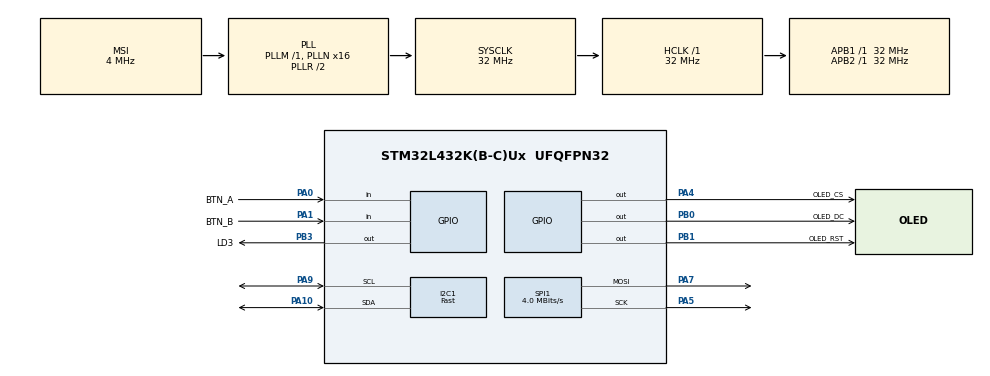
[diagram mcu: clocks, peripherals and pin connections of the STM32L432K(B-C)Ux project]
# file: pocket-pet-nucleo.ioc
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FREERTOS.Tasks01=defaultTask,24,128,StartDefaultTask,Default,NULL,Dynamic,NULL,NULL
FREERTOS.configTOTAL_HEAP_SIZE=8192
FREERTOS.configUSE_NEWLIB_REENTRANT=1
I2C1.I2C_Speed_Mode=I2C_Fast
I2C1.Timing=0x0060112F
Mcu.Family=STM32L4
Mcu.Name=STM32L432K(B-C)Ux
Mcu.Package=UFQFPN32
NVIC.PriorityGroup=NVIC_PRIORITYGROUP_4
NVIC.TIM6_DAC_IRQn=true\:15\:0\:false\:false\:true\:false\:false\:true\:true
NVIC.TimeBase=TIM6_DAC_IRQn
NVIC.TimeBaseIP=TIM6
PA0.GPIO_Label=BTN_A
PA0.GPIO_PuPd=GPIO_PULLUP
PA0.Signal=GPIO_Input
PA1.GPIO_Label=BTN_B
PA1.GPIO_PuPd=GPIO_PULLUP
PA1.Signal=GPIO_Input
PA10.Mode=I2C
PA10.Signal=I2C1_SDA
PA13\ (JTMS-SWDIO).GPIO_Label=SWDIO
PA13\ (JTMS-SWDIO).Signal=SYS_JTMS-SWDIO
PA14\ (JTCK-SWCLK).GPIO_Label=SWCLK
PA14\ (JTCK-SWCLK).Signal=SYS_JTCK-SWCLK
PA15\ (JTDI).GPIO_Label=VCP_RX
PA15\ (JTDI).Signal=USART2_RX
PA2.GPIO_Label=VCP_TX
PA2.Signal=USART2_TX
PA4.GPIO_Label=OLED_CS
PA4.PinState=GPIO_PIN_SET
PA4.Signal=GPIO_Output
PA5.Mode=TX_Only_Simplex_Unidirect_Master
PA5.Signal=SPI1_SCK
PA7.Mode=TX_Only_Simplex_Unidirect_Master
PA7.Signal=SPI1_MOSI
PA9.Mode=I2C
PA9.Signal=I2C1_SCL
PB0.GPIO_Label=OLED_DC
PB0.GPIO_ModeDefaultOutputPP=GPIO_MODE_OUTPUT_PP
PB0.GPIO_PuPd=GPIO_NOPULL
PB0.GPIO_Speed=GPIO_SPEED_FREQ_LOW
PB0.Signal=GPIO_Output
PB1.GPIO_Label=OLED_RST
PB1.GPIO_ModeDefaultOutputPP=GPIO_MODE_OUTPUT_PP
PB1.GPIO_PuPd=GPIO_NOPULL
PB1.GPIO_Speed=GPIO_SPEED_FREQ_LOW
PB1.Signal=GPIO_Output
PB3\ (JTDO-TRACESWO).GPIO_Label=LD3
PB3\ (JTDO-TRACESWO).GPIO_ModeDefaultOutputPP=GPIO_MODE_OUTPUT_PP
PB3\ (JTDO-TRACESWO).GPIO_PuPd=GPIO_NOPULL
PB3\ (JTDO-TRACESWO).GPIO_Speed=GPIO_SPEED_FREQ_LOW
PB3\ (JTDO-TRACESWO).Signal=GPIO_Output
PC14-OSC32_IN\ (PC14).Signal=RCC_OSC32_IN
PC15-OSC32_OUT\ (PC15).Signal=RCC_OSC32_OUT
ProjectManager.HeapSize=0x200
ProjectManager.StackSize=0x400
ProjectManager.TargetToolchain=STM32CubeIDE
RCC.AHBFreq_Value=32000000
RCC.APB1Freq_Value=32000000
RCC.APB1TimFreq_Value=32000000
RCC.APB2Freq_Value=32000000
RCC.APB2TimFreq_Value=32000000
RCC.CortexFreq_Value=32000000
RCC.HCLKFreq_Value=32000000
RCC.HSE_VALUE=8000000
RCC.HSI16_VALUE=16000000
RCC.HSI48_VALUE=48000000
RCC.HSI_VALUE=16000000
RCC.LSE_VALUE=32768
RCC.MSI_VALUE=4000000
RCC.PLLMUL=RCC_PLLMUL_4
RCC.PLLN=16
RCC.SYSCLKFreq_VALUE=32000000
RCC.SYSCLKSource=RCC_SYSCLKSOURCE_PLLCLK
RCC.VCOOutputFreq_Value=64000000
SPI1.BaudRatePrescaler=SPI_BAUDRATEPRESCALER_8
SPI1.CalculateBaudRate=4.0 MBits/s
SPI1.DataSize=SPI_DATASIZE_8BIT
SPI1.Direction=SPI_DIRECTION_2LINES
SPI1.Mode=SPI_MODE_MASTER
SPI1.NSSPMode=SPI_NSS_PULSE_ENABLE
SPI1.VirtualType=VM_MASTER
VP_FREERTOS_VS_CMSIS_V2.Mode=CMSIS_V2
VP_NUCLEO-L432KC_VS_BSP_COMMON.Mode=COMMON
VP_SYS_VS_tim6.Mode=TIM6
board=NUCLEO-L432KC

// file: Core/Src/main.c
/* USER CODE BEGIN Header */
/**
  ******************************************************************************
  * @file           : main.c
  * @brief          : Main program body
  ******************************************************************************
  * @attention
  *
  * Copyright (c) 2026 STMicroelectronics.
  * All rights reserved.
  *
  * This software is licensed under terms that can be found in the LICENSE file
  * in the root directory of this software component.
  * If no LICENSE file comes with this software, it is provided AS-IS.
  *
  ******************************************************************************
  */
/* USER CODE END Header */
#include "main.h"
#include "cmsis_os.h"
#include "i2c.h"
#include "spi.h"
#include "gpio.h"

/* USER CODE BEGIN Includes */
#include "ssd1306.h"
/* USER CODE END Includes */

void SystemClock_Config(void);
void MX_FREERTOS_Init(void);

int main(void)
{

  /* MCU Configuration--------------------------------------------------------*/

  /* Reset of all peripherals, Initializes the Flash interface and the Systick. */
  HAL_Init();

  /* Configure the system clock */
  SystemClock_Config();

  /* Initialize all configured peripherals */
  MX_GPIO_Init();
  MX_SPI1_Init();
  MX_I2C1_Init();

  /* Init scheduler */
  osKernelInitialize();  /* Call init function for freertos objects (in cmsis_os2.c) */
  MX_FREERTOS_Init();

  /* Start scheduler */
  osKernelStart();

  /* We should never get here as control is now taken by the scheduler */

  /* Infinite loop */
  while (1)
  {

	  }
}

void SystemClock_Config(void)
{
  RCC_OscInitTypeDef RCC_OscInitStruct = {0};
  RCC_ClkInitTypeDef RCC_ClkInitStruct = {0};

  /** Configure the main internal regulator output voltage
  */
  if (HAL_PWREx_ControlVoltageScaling(PWR_REGULATOR_VOLTAGE_SCALE1) != HAL_OK)
  {
    Error_Handler();
  }

  /** Initializes the RCC Oscillators according to the specified parameters
  * in the RCC_OscInitTypeDef structure.
  */
  RCC_OscInitStruct.OscillatorType = RCC_OSCILLATORTYPE_MSI;
  RCC_OscInitStruct.MSIState = RCC_MSI_ON;
  RCC_OscInitStruct.MSICalibrationValue = 0;
  RCC_OscInitStruct.MSIClockRange = RCC_MSIRANGE_6;
  RCC_OscInitStruct.PLL.PLLState = RCC_PLL_ON;
  RCC_OscInitStruct.PLL.PLLSource = RCC_PLLSOURCE_MSI;
  RCC_OscInitStruct.PLL.PLLM = 1;
  RCC_OscInitStruct.PLL.PLLN = 16;
  RCC_OscInitStruct.PLL.PLLP = RCC_PLLP_DIV7;
  RCC_OscInitStruct.PLL.PLLQ = RCC_PLLQ_DIV2;
  RCC_OscInitStruct.PLL.PLLR = RCC_PLLR_DIV2;
  if (HAL_RCC_OscConfig(&RCC_OscInitStruct) != HAL_OK)
  {
    Error_Handler();
  }

  /** Initializes the CPU, AHB and APB buses clocks
  */
  RCC_ClkInitStruct.ClockType = RCC_CLOCKTYPE_HCLK|RCC_CLOCKTYPE_SYSCLK
                              |RCC_CLOCKTYPE_PCLK1|RCC_CLOCKTYPE_PCLK2;
  RCC_ClkInitStruct.SYSCLKSource = RCC_SYSCLKSOURCE_PLLCLK;
  RCC_ClkInitStruct.AHBCLKDivider = RCC_SYSCLK_DIV1;
  RCC_ClkInitStruct.APB1CLKDivider = RCC_HCLK_DIV1;
  RCC_ClkInitStruct.APB2CLKDivider = RCC_HCLK_DIV1;

  if (HAL_RCC_ClockConfig(&RCC_ClkInitStruct, FLASH_LATENCY_1) != HAL_OK)
  {
    Error_Handler();
  }
}

void HAL_TIM_PeriodElapsedCallback(TIM_HandleTypeDef *htim)
{
  if (htim->Instance == TIM6)
  {
    HAL_IncTick();
  }
}

void Error_Handler(void)
{
  __disable_irq();
  while (1)
  {
  }
}

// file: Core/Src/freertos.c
/* USER CODE BEGIN Header */
/**
  ******************************************************************************
  * File Name          : freertos.c
  * Description        : Code for freertos applications
  ******************************************************************************
  * @attention
  *
  * Copyright (c) 2026 STMicroelectronics.
  * All rights reserved.
  *
  * This software is licensed under terms that can be found in the LICENSE file
  * in the root directory of this software component.
  * If no LICENSE file comes with this software, it is provided AS-IS.
  *
  ******************************************************************************
  */
/* USER CODE END Header */

#include "FreeRTOS.h"
#include "task.h"
#include "main.h"
#include "cmsis_os.h"

/* USER CODE BEGIN Includes */
#include "ssd1306.h"
#include "pet.h"
#include <stdio.h>
#include "i2c.h"
#include "lis3dh.h"
#include "pocket_pet_pins.h"
#include "pet_sprites.h"

/* USER CODE END Includes */

/* USER CODE BEGIN Variables */
osMessageQueueId_t petStateQueueHandle;

const osThreadAttr_t petTask_attributes = {
  .name = "petTask",
  .stack_size = 128 * 4,
  .priority = (osPriority_t) osPriorityNormal,
};
osThreadId_t petTaskHandle;

osMessageQueueId_t petEventQueueHandle;

const osThreadAttr_t inputTask_attributes = {
  .name = "inputTask",
  .stack_size = 128 * 4,
  .priority = (osPriority_t) osPriorityNormal,
};
osThreadId_t inputTaskHandle;

/* USER CODE END Variables */
/* Definitions for defaultTask */
osThreadId_t defaultTaskHandle;
const osThreadAttr_t defaultTask_attributes = {
  .name = "defaultTask",
  .stack_size = 128 * 4,
  .priority = (osPriority_t) osPriorityNormal,
};

/* USER CODE BEGIN FunctionPrototypes */
void StartPetTask(void *argument);
void StartInputTask(void *argument);
/* USER CODE END FunctionPrototypes */

void StartDefaultTask(void *argument);

void MX_FREERTOS_Init(void); /* (MISRA C 2004 rule 8.1) */

void MX_FREERTOS_Init(void) {

  /* USER CODE BEGIN RTOS_QUEUES */
	  /* Depth 1: the display only ever cares about the newest state. A deeper
	   * queue would just mean rendering stale frames if the display fell behind. */
	  petStateQueueHandle = osMessageQueueNew(1, sizeof(pet_state_t), NULL);

	  /* Depth 4: button presses must not be dropped the way stale display frames
	   * can be. A few can buffer if the pet task is mid-tick. */
	  petEventQueueHandle = osMessageQueueNew(4, sizeof(pet_event_t), NULL);
  /* USER CODE END RTOS_QUEUES */

  /* Create the thread(s) */
  /* creation of defaultTask */
  defaultTaskHandle = osThreadNew(StartDefaultTask, NULL, &defaultTask_attributes);

  /* USER CODE BEGIN RTOS_THREADS */
  petTaskHandle = osThreadNew(StartPetTask, NULL, &petTask_attributes);
  inputTaskHandle = osThreadNew(StartInputTask, NULL, &inputTask_attributes);
  /* USER CODE END RTOS_THREADS */

}

void StartDefaultTask(void *argument)
{
  /* USER CODE BEGIN StartDefaultTask */
  pet_state_t pet;
  char line[24];
  uint8_t anim_frame = 0;

  pet_init(&pet);
  ssd1306_init();

  if (!lis3dh_init()) {
    ssd1306_clear();
    ssd1306_draw_string(0, 0, "LIS3DH FAIL", SSD1306_PIXEL_ON);
    ssd1306_update_screen();
    osDelay(2000);
  }

  /* Splash: title, credit, and the bunny hopping in from the left.
   *
   * The vertical offset is a repeating 4-step pattern rather than a real
   * arc — at 32px tall on a 1-bit display the difference is invisible, and
   * a lookup table costs nothing. Runs at the same 8 fps as the main loop
   * so the motion matches the rest of the UI. */
  {
    static const int8_t hop[4] = { 0, -3, -5, -3 };

    for (uint8_t i = 0; i < 28; i++) {
      ssd1306_clear();

      ssd1306_draw_string(28, 6,  "POCKET PET", SSD1306_PIXEL_ON);
      ssd1306_draw_string(16, 18, "by @wiredbysarah", SSD1306_PIXEL_ON);

      /* Hops in from off-screen left, stops at x=48 and settles. */
      int16_t bx = (int16_t)(i * 5) - 32;
      if (bx > 48) {
        bx = 48;
      }

      /* Stop bouncing once it has arrived. */
      int16_t by = 30 + ((bx < 48) ? hop[i % 4] : 0);

      /* Runs while moving, idles once it arrives — a run cycle playing on
       * the spot reads as a glitch rather than a pause. */
      const pet_anim_t *splash_anim = (bx < 48) ? &anim_run : &anim_idle;

      ssd1306_draw_bitmap((uint8_t)bx, (uint8_t)by,
                          splash_anim->frames[i % splash_anim->count],
                          PET_SPRITE_W, PET_SPRITE_H, SSD1306_PIXEL_ON);

      ssd1306_update_screen();
      osDelay(125);
    }

    osDelay(600);
  }

  /* Redraw on a fixed 125 ms cadence rather than waiting on the queue, so
   * animation runs at 8 fps regardless of how often the pet state changes. */
  for(;;)
  {
    /* Timeout 0: take a new state if there is one, carry on if not. */
    osMessageQueueGet(petStateQueueHandle, &pet, NULL, 0);

    pet_mood_t mood = pet_get_mood(&pet);

    ssd1306_clear();

    /* --- Stat bars: labelled, down the left ------------------------------ */
    ssd1306_draw_string(0, 2, "HUNGER", SSD1306_PIXEL_ON);
    ssd1306_draw_rect(38, 1, 30, 7, SSD1306_PIXEL_ON);
    ssd1306_fill_rect(39, 2, (uint8_t)(pet.hunger * 28 / 100), 5, SSD1306_PIXEL_ON);

    ssd1306_draw_string(0, 13, "MOOD", SSD1306_PIXEL_ON);
    ssd1306_draw_rect(38, 12, 30, 7, SSD1306_PIXEL_ON);
    ssd1306_fill_rect(39, 13, (uint8_t)(pet.mood * 28 / 100), 5, SSD1306_PIXEL_ON);

    ssd1306_draw_string(0, 24, "ENERGY", SSD1306_PIXEL_ON);
    ssd1306_draw_rect(38, 23, 30, 7, SSD1306_PIXEL_ON);
    ssd1306_fill_rect(39, 24, (uint8_t)(pet.energy * 28 / 100), 5, SSD1306_PIXEL_ON);

    /* --- The pet, right-hand side ----------------------------------------
     * Adults render at 2x, so growing up is visible rather than just a label
     * change. Both sizes sit their feet on the same baseline, so the
     * creature grows upward in place.
     *
     * The y calculation is done signed and clamped: at 2x the sprite is 64px
     * tall and would underflow a uint8_t subtraction, wrapping to a large
     * value and clipping the top of the sprite. */
    /* A recent event overrides the mood animation, so a button press is
     * visibly acknowledged and the reaction animations get used. Death and
     * distress still win: those are things the player needs to see. */
    const pet_anim_t *anim;

    if (mood == PET_MOOD_DEAD) {
      anim = &anim_dead;
    } else if (mood == PET_MOOD_DISTRESSED) {
      anim = &anim_hurt;
    } else if (pet.reaction_ticks > 0) {
      switch (pet.last_event) {
        case PET_EVENT_FEED:  anim = &anim_attack; break;
        case PET_EVENT_PLAY:  anim = &anim_run;    break;
        case PET_EVENT_SHAKE: anim = &anim_run;    break;
        default:              anim = &anim_idle;   break;
      }
    } else {
      switch (mood) {
        case PET_MOOD_HAPPY:    anim = &anim_idle;    break;
        case PET_MOOD_NEUTRAL:  anim = &anim_sitting; break;
        case PET_MOOD_SAD:      anim = &anim_liedown; break;
        case PET_MOOD_SLEEPING: anim = &anim_sleep;   break;
        default:                anim = &anim_idle;    break;
      }
    }

    uint8_t scale = (pet.stage == PET_STAGE_ADULT) ? 2 : 1;
    int16_t sprite_h = (int16_t)(PET_SPRITE_H * scale);
    int16_t sy = 54 - sprite_h;
    if (sy < 0) {
      sy = 0;
    }

    /* Both sizes share a horizontal centre at x=95, so the creature grows in
     * place rather than shifting sideways when it reaches adulthood. */
    uint8_t sprite_w = (uint8_t)(PET_SPRITE_W * scale);
    uint8_t sx = (uint8_t)(105 - sprite_w / 2);

    ssd1306_draw_bitmap_scaled(sx, (uint8_t)sy,
                               anim->frames[anim_frame % anim->count],
                               PET_SPRITE_W, PET_SPRITE_H, scale,
                               SSD1306_PIXEL_ON);

    /* --- Status line, bottom --------------------------------------------- */
    if (mood == PET_MOOD_DEAD) {
      ssd1306_draw_string(4, 56, "RIP", SSD1306_PIXEL_ON);
    } else if (mood == PET_MOOD_DISTRESSED) {
      snprintf(line, sizeof(line), "HELP %u  %lus",
               (unsigned)(DISTRESS_TICKS - pet.distress_ticks),
               pet.age_s);
      ssd1306_draw_string(0, 56, line, SSD1306_PIXEL_ON);

    } else if (mood == PET_MOOD_SLEEPING) {
      ssd1306_draw_string(4, 56, "ZZZ", SSD1306_PIXEL_ON);
    } else {
      snprintf(line, sizeof(line), "%s %lus",
               (pet.stage == PET_STAGE_ADULT) ? "ADULT" : "BABY",
               pet.age_s);
      ssd1306_draw_string(0, 56, line, SSD1306_PIXEL_ON);
    }

    anim_frame++;
    ssd1306_update_screen();

#ifdef BOARD_NUCLEO
    HAL_GPIO_TogglePin(LD3_GPIO_Port, LD3_Pin);
#endif

    osDelay(125);
  }
  /* USER CODE END StartDefaultTask */
}

/* USER CODE BEGIN Application */
void vApplicationStackOverflowHook(TaskHandle_t xTask, char *pcTaskName)
{
    (void)xTask;
    (void)pcTaskName;
    __disable_irq();
    for(;;);
}
/*
 * Owns the pet state. Nothing else writes to it.
 *
 * Publishes a copy to the queue after each tick; the display task renders
 * whatever it receives. Neither task touches the other's memory, which is
 * what makes this safe without a mutex.
 */
void StartPetTask(void *argument)
{
  pet_state_t pet;
  pet_init(&pet);

  for(;;)
  {
    pet_event_t ev;

    /* Drain any events that arrived since the last tick. Timeout 0 means
     * this returns immediately when the queue is empty. */
    while (osMessageQueueGet(petEventQueueHandle, &ev, NULL, 0) == osOK) {
      pet_apply_event(&pet, ev);
    }

    pet_tick(&pet);

    /* Overwrite semantics: if the display has not consumed the previous
     * state yet, replace it. Timeout 0 so this task never blocks on a
     * slow renderer. */
    osMessageQueuePut(petStateQueueHandle, &pet, 0, 0);

    osDelay(1000);
  }
}

/*
 * Polls the two buttons and publishes press events.
 *
 * Pins are pull-up, so a press reads LOW. Debouncing is done by sampling
 * every 20 ms and only acting on a transition from released to pressed:
 * mechanical contacts (and a hand-held wire even more so) bounce for a few
 * milliseconds, and without this one press registers as a dozen.
 *
 * Edge detection, not level: holding the wire down feeds once, not
 * continuously. Feeding on level would let you max out the pet by leaving
 * a wire touching.
 */
void StartInputTask(void *argument)
{
	  uint8_t btn_a_prev = 1;
	  uint8_t btn_b_prev = 1;
	  uint16_t btn_b_held = 0;
	  uint8_t  btn_b_longpress_fired = 0;
	  uint8_t accel_divider = 0;

	  /* 50 samples at 20 ms = 1 second. */
	  #define LONGPRESS_SAMPLES 50

	  for(;;)
	  {
	    uint8_t btn_a = (HAL_GPIO_ReadPin(BTN_A_GPIO_Port, BTN_A_Pin) == GPIO_PIN_SET) ? 1 : 0;
	    uint8_t btn_b = (HAL_GPIO_ReadPin(BTN_B_GPIO_Port, BTN_B_Pin) == GPIO_PIN_SET) ? 1 : 0;

	    if (btn_a == 0 && btn_a_prev == 1) {
	      pet_event_t ev = PET_EVENT_FEED;
	      osMessageQueuePut(petEventQueueHandle, &ev, 0, 0);
	    }

	    /* B is press-and-hold: a short press plays, a hold toggles sleep. The
	     * long press fires while still held so the hold has a definite moment,
	     * and a flag stops the release also registering as a play. */
	    if (btn_b == 0) {
	      btn_b_held++;

	      if (btn_b_held >= LONGPRESS_SAMPLES && !btn_b_longpress_fired) {
	        pet_event_t ev = PET_EVENT_SLEEP_TOGGLE;
	        osMessageQueuePut(petEventQueueHandle, &ev, 0, 0);
	        btn_b_longpress_fired = 1;
	      }
	    } else {
	      if (btn_b_prev == 0 && !btn_b_longpress_fired) {
	        pet_event_t ev = PET_EVENT_PLAY;
	        osMessageQueuePut(petEventQueueHandle, &ev, 0, 0);
	      }
	      btn_b_held = 0;
	      btn_b_longpress_fired = 0;
	    }

	    btn_a_prev = btn_a;
	    btn_b_prev = btn_b;

	    if (++accel_divider >= 5) {
	      accel_divider = 0;
	      if (lis3dh_check_shake()) {
	        pet_event_t ev = PET_EVENT_SHAKE;
	        osMessageQueuePut(petEventQueueHandle, &ev, 0, 0);
	      }
	    }

	    osDelay(20);
	  }
}

/* USER CODE END Application */
